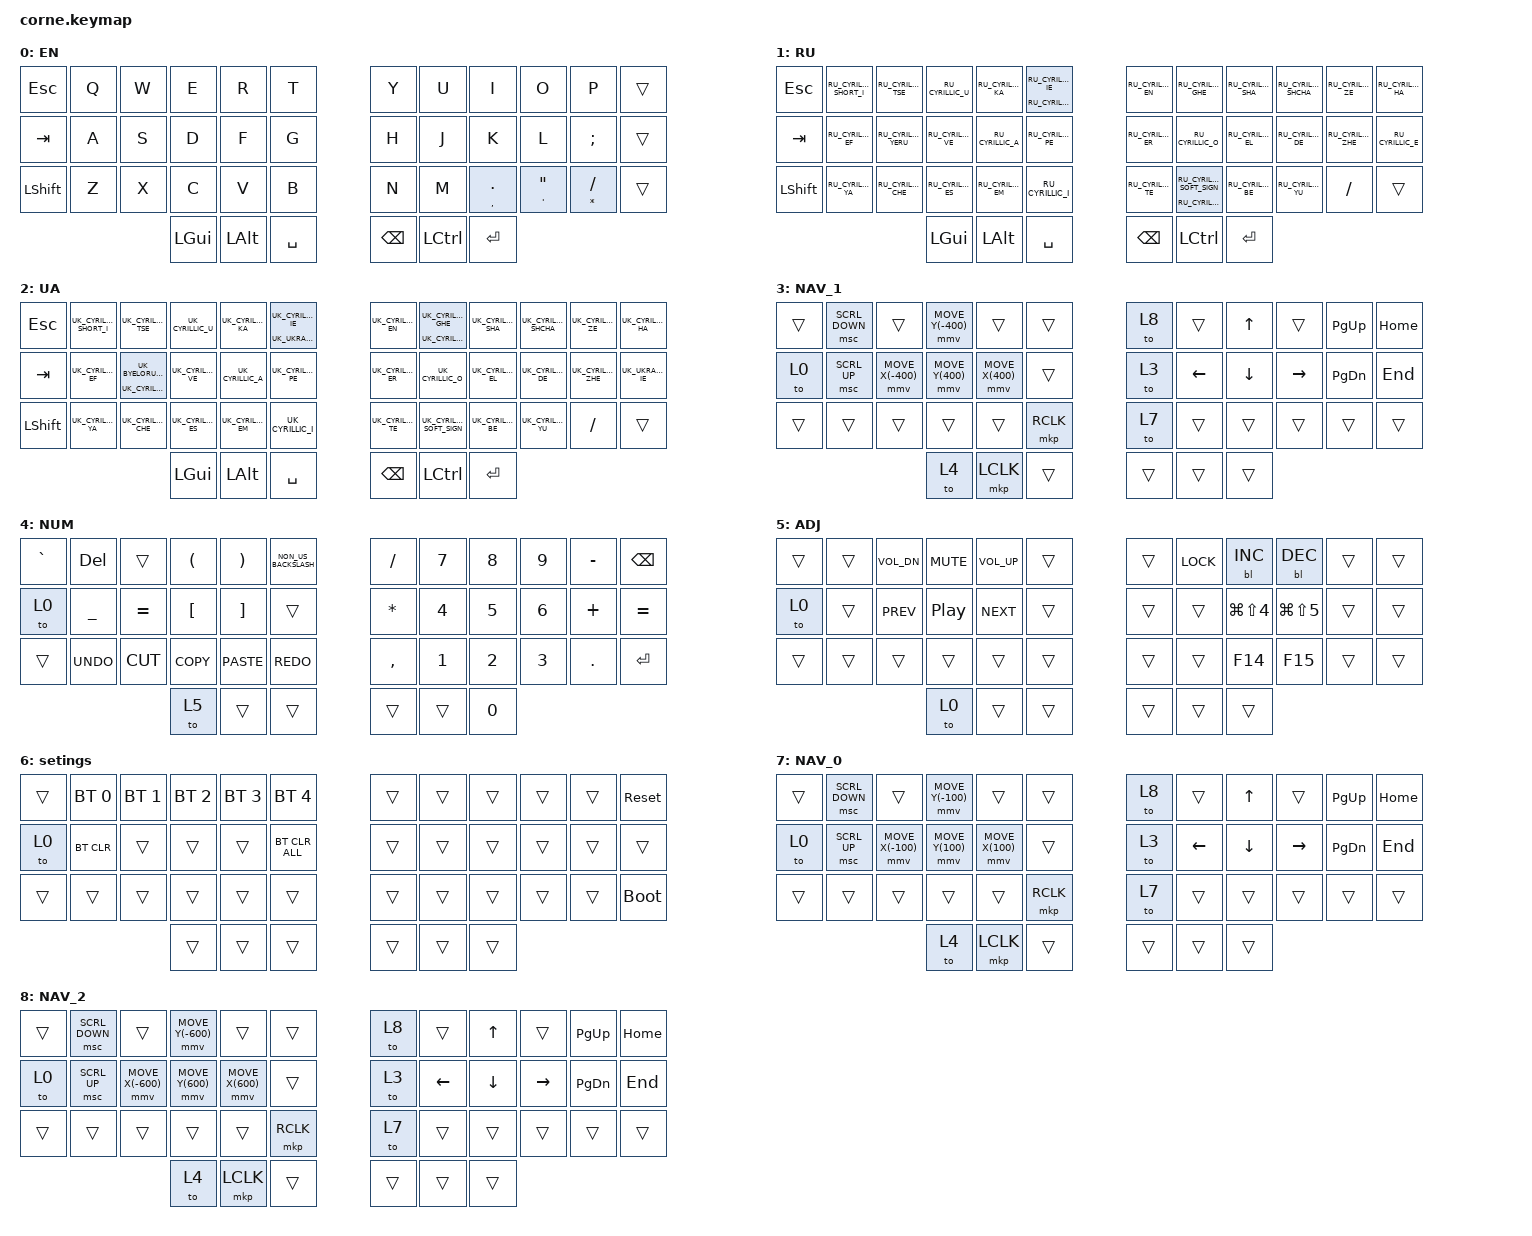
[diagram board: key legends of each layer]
/*
 * Copyright (c) 2020 The ZMK Contributors
 *
 * SPDX-License-Identifier: MIT
 */

#include "keys_uk.h"
#include "keys_ru.h"
#include <behaviors.dtsi>
#include <dt-bindings/zmk/backlight.h>
#include <dt-bindings/zmk/bt.h>
#include <dt-bindings/zmk/keys.h>
#include <dt-bindings/zmk/pointing.h>

/ {
    combos {
        compatible = "zmk,combos";

        ctrl_last_to_settings {
            bindings = <&mo 6>;
            key-positions = <40 35>;
        };

        NAV {
            bindings = <&to 3>;
            key-positions = <37 27>;
        };

        NUM {
            bindings = <&to 4>;
            key-positions = <37 28>;
        };

        ADJ {
            bindings = <&to 5>;
            key-positions = <37 29>;
        };

        EN {
            bindings = <&en_macro>;
            key-positions = <40 30>;
            layers = <0>;
            timeout-ms = <50>;
        };

        RU {
            bindings = <&ru_macros>;
            key-positions = <40 31>;
            timeout-ms = <50>;
        };

        UA {
            bindings = <&ua_macros>;
            key-positions = <32 40>;
            timeout-ms = <50>;
        };
    };

    macros {
        en_macro: en_macro {
            compatible = "zmk,behavior-macro";
            #binding-cells = <0>;
            bindings = <&kp CAPSLOCK &to 0>;
            label = "EN_MACRO";
        };

        ru_macros: ru_macros {
            compatible = "zmk,behavior-macro";
            #binding-cells = <0>;
            bindings = <&kp CAPSLOCK &kp LEFT_COMMAND &kp SPACE &to 1>;
            label = "RU_MACROS";
        };

        ua_macros: ua_macros {
            compatible = "zmk,behavior-macro";
            #binding-cells = <0>;
            bindings = <&kp CAPSLOCK &kp LEFT_COMMAND &kp SPACE &kp LEFT_COMMAND &kp SPACE &to 2>;
            label = "UA_MACROS";
        };
    };

    keymap {
        compatible = "zmk,keymap";

        EN {
            // -----------------------------------------------------------------------------------------
            // |  TAB |  Q  |  W  |  E  |  R  |  T  |   |  Y  |  U   |  I  |  O  |  P  | BSPC |
            // | SHFT |  A  |  S  |  D  |  F  |  G  |   |  H  |  J   |  K  |  L  |  ;  | ENTR |
            // | CTRL |  Z  |  X  |  C  |  V  |  B  |   |  N  |  M   | ./, | '/" |  /* | EQU |
            //                    | GUI | LWR | SPC |   | SPC | L2   | L1  |

            bindings = <
&kp ESCAPE  &kp Q  &kp W  &kp E     &kp R         &kp T        &kp Y          &kp U      &kp I          &kp O                  &kp P          &trans
&kp TAB     &kp A  &kp S  &kp D     &kp F         &kp G        &kp H          &kp J      &kp K          &kp L                  &kp SEMI       &trans
&kp LSHIFT  &kp Z  &kp X  &kp C     &kp V         &kp B        &kp N          &kp M      &mt COMMA DOT  &mt SQT DOUBLE_QUOTES  &mt STAR FSLH  &trans
                          &kp LGUI  &kp LEFT_ALT  &kp SPACE    &kp BACKSPACE  &kp LCTRL  &kp ENTER
            >;
        };

        RU {
            bindings = <
&kp ESCAPE  &kp RU_CYRILLIC_SHORT_I  &kp RU_CYRILLIC_TSE   &kp RU_CYRILLIC_U   &kp RU_CYRILLIC_KA  &mt RU_CYRILLIC_E RU_CYRILLIC_IE    &kp RU_CYRILLIC_EN  &kp RU_CYRILLIC_GHE                              &kp RU_CYRILLIC_SHA  &kp RU_CYRILLIC_SHCHA  &kp RU_CYRILLIC_ZE   &kp RU_CYRILLIC_HA
&kp TAB     &kp RU_CYRILLIC_EF       &kp RU_CYRILLIC_YERU  &kp RU_CYRILLIC_VE  &kp RU_CYRILLIC_A   &kp RU_CYRILLIC_PE                  &kp RU_CYRILLIC_ER  &kp RU_CYRILLIC_O                                &kp RU_CYRILLIC_EL   &kp RU_CYRILLIC_DE     &kp RU_CYRILLIC_ZHE  &kp RU_CYRILLIC_E
&kp LSHIFT  &kp RU_CYRILLIC_YA       &kp RU_CYRILLIC_CHE   &kp RU_CYRILLIC_ES  &kp RU_CYRILLIC_EM  &kp RU_CYRILLIC_I                   &kp RU_CYRILLIC_TE  &mt RU_CYRILLIC_HARD_SIGN RU_CYRILLIC_SOFT_SIGN  &kp RU_CYRILLIC_BE   &kp RU_CYRILLIC_YU     &kp SLASH            &trans
                                                           &kp LGUI            &kp LEFT_ALT        &kp SPACE                           &kp BACKSPACE       &kp LCTRL                                        &kp ENTER
            >;
        };

        UA {
            bindings = <
&kp ESCAPE  &kp UK_CYRILLIC_SHORT_I  &kp UK_CYRILLIC_TSE                   &kp UK_CYRILLIC_U   &kp UK_CYRILLIC_KA  &mt UK_UKRAINIAN_IE UK_CYRILLIC_IE    &kp UK_CYRILLIC_EN  &mt UK_CYRILLIC_GHE_UPTURN UK_CYRILLIC_GHE  &kp UK_CYRILLIC_SHA  &kp UK_CYRILLIC_SHCHA  &kp UK_CYRILLIC_ZE   &kp UK_CYRILLIC_HA
&kp TAB     &kp UK_CYRILLIC_EF       &mt UK_CYRILLIC_YI UK_BYELORUSSIAN_I  &kp UK_CYRILLIC_VE  &kp UK_CYRILLIC_A   &kp UK_CYRILLIC_PE                    &kp UK_CYRILLIC_ER  &kp UK_CYRILLIC_O                           &kp UK_CYRILLIC_EL   &kp UK_CYRILLIC_DE     &kp UK_CYRILLIC_ZHE  &kp UK_UKRAINIAN_IE
&kp LSHIFT  &kp UK_CYRILLIC_YA       &kp UK_CYRILLIC_CHE                   &kp UK_CYRILLIC_ES  &kp UK_CYRILLIC_EM  &kp UK_CYRILLIC_I                     &kp UK_CYRILLIC_TE  &kp UK_CYRILLIC_SOFT_SIGN                   &kp UK_CYRILLIC_BE   &kp UK_CYRILLIC_YU     &kp SLASH            &trans
                                                                           &kp LGUI            &kp LEFT_ALT        &kp SPACE                             &kp BACKSPACE       &kp LCTRL                                   &kp ENTER
            >;
        };

        NAV_1 {
            bindings = <
&trans  &msc SCRL_DOWN  &trans             &mmv MOVE_Y(-400)  &trans            &trans       &to 8   &trans    &kp UP_ARROW  &trans     &kp PG_UP      &kp HOME
&to 0   &msc SCRL_UP    &mmv MOVE_X(-400)  &mmv MOVE_Y(400)   &mmv MOVE_X(400)  &trans       &to 3   &kp LEFT  &kp DOWN      &kp RIGHT  &kp PAGE_DOWN  &kp END
&trans  &trans          &trans             &trans             &trans            &mkp RCLK    &to 7   &trans    &trans        &trans     &trans         &trans
                                           &to 4              &mkp LCLK         &trans       &trans  &trans    &trans
            >;
        };

        NUM {
            bindings = <
&kp GRAVE  &kp DELETE      &trans     &kp LEFT_PARENTHESIS  &kp RIGHT_PARENTHESIS  &kp NON_US_BACKSLASH    &kp SLASH  &kp NUMBER_7  &kp NUMBER_8  &kp NUMBER_9  &kp MINUS  &kp BACKSPACE
&to 0      &kp UNDERSCORE  &kp EQUAL  &kp LEFT_BRACKET      &kp RIGHT_BRACKET      &trans                  &kp STAR   &kp NUMBER_4  &kp NUMBER_5  &kp NUMBER_6  &kp PLUS   &kp EQUAL
&trans     &kp K_UNDO      &kp K_CUT  &kp K_COPY            &kp K_PASTE            &kp K_REDO              &kp COMMA  &kp NUMBER_1  &kp NUMBER_2  &kp NUMBER_3  &kp DOT    &kp ENTER
                                      &to 5                 &trans                 &trans                  &trans     &trans        &kp N0
            >;
        };

        ADJ {
            bindings = <
&trans  &trans  &kp C_VOL_DN  &kp K_MUTE        &kp C_VOL_UP  &trans    &trans  &kp K_LOCK  &bl BL_INC            &bl BL_DEC            &trans  &trans
&to 0   &trans  &kp C_PREV    &kp C_PLAY_PAUSE  &kp C_NEXT    &trans    &trans  &trans      &kp LG(LS(NUMBER_4))  &kp LG(LS(NUMBER_5))  &trans  &trans
&trans  &trans  &trans        &trans            &trans        &trans    &trans  &trans      &kp F14               &kp F15               &trans  &trans
                              &to 0             &trans        &trans    &trans  &trans      &trans
            >;
        };

        setings {
            bindings = <
&trans  &bt BT_SEL 0  &bt BT_SEL 1  &bt BT_SEL 2  &bt BT_SEL 3  &bt BT_SEL 4      &trans  &trans  &trans  &trans  &trans  &sys_reset
&to 0   &bt BT_CLR    &trans        &trans        &trans        &bt BT_CLR_ALL    &trans  &trans  &trans  &trans  &trans  &trans
&trans  &trans        &trans        &trans        &trans        &trans            &trans  &trans  &trans  &trans  &trans  &bootloader
                                    &trans        &trans        &trans            &trans  &trans  &trans
            >;
        };

        NAV_0 {
            bindings = <
&trans  &msc SCRL_DOWN  &trans             &mmv MOVE_Y(-100)  &trans            &trans       &to 8   &trans    &kp UP_ARROW  &trans     &kp PG_UP      &kp HOME
&to 0   &msc SCRL_UP    &mmv MOVE_X(-100)  &mmv MOVE_Y(100)   &mmv MOVE_X(100)  &trans       &to 3   &kp LEFT  &kp DOWN      &kp RIGHT  &kp PAGE_DOWN  &kp END
&trans  &trans          &trans             &trans             &trans            &mkp RCLK    &to 7   &trans    &trans        &trans     &trans         &trans
                                           &to 4              &mkp LCLK         &trans       &trans  &trans    &trans
            >;
        };

        NAV_2 {
            bindings = <
&trans  &msc SCRL_DOWN  &trans             &mmv MOVE_Y(-600)  &trans            &trans       &to 8   &trans    &kp UP_ARROW  &trans     &kp PG_UP      &kp HOME
&to 0   &msc SCRL_UP    &mmv MOVE_X(-600)  &mmv MOVE_Y(600)   &mmv MOVE_X(600)  &trans       &to 3   &kp LEFT  &kp DOWN      &kp RIGHT  &kp PAGE_DOWN  &kp END
&trans  &trans          &trans             &trans             &trans            &mkp RCLK    &to 7   &trans    &trans        &trans     &trans         &trans
                                           &to 4              &mkp LCLK         &trans       &trans  &trans    &trans
            >;
        };
    };
};

//For new Layers
// -----------------------------------------------------------------------------------------
// |      |     |     |     |     |     |   |     |     |     |     |     |      |
// |      |     |     |     |     |     |   |     |     |     |     |     |      |
// |      |     |     |     |     |     |   |     |     |     |     |     |      |
//                    |     |     |     |   |     |     |     |
